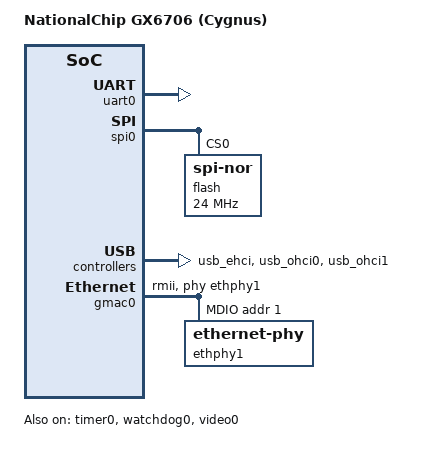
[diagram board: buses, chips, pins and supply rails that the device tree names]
// SPDX-License-Identifier: GPL-2.0+
/*
 * NationalChip GX6706 (Cygnus), C-SKY CK610.
 *
 * Peripheral bases use the uncached alias (+0xA0000000) that the open IPL
 * MMU maps. EHCI owns high-speed traffic. The two OHCI companions own
 * full/low-speed traffic and share the one Cygnus PHY sequence.
 */

/dts-v1/;

/ {
	#address-cells = <1>;
	#size-cells = <1>;
	model = "NationalChip GX6706 (Cygnus)";
	compatible = "nationalchip,gx6706";

	aliases {
		serial0 = &uart0;
		ethernet0 = &gmac0;
		spi0 = &spi0;
		watchdog0 = &watchdog0;
		usb0 = &usb_ehci;
		usb1 = &usb_ohci0;
		usb2 = &usb_ohci1;
	};

	chosen {
		stdout-path = "serial0:115200n8";
	};

	sysinfo {
		compatible = "nationalchip,gx6706-sysinfo";
	};

	clocks {
		#address-cells = <1>;
		#size-cells = <0>;

		uart_clk: uart-clk {
			compatible = "fixed-clock";
			#clock-cells = <0>;
			clock-frequency = <29491200>;
		};
	};

	soc {
		compatible = "simple-bus";
		#address-cells = <1>;
		#size-cells = <1>;
		ranges;
		/* Cached DRAM 0x90000000 is physical 0x10000000 on the MAC DMA. */
		dma-ranges = <0x10000000 0x90000000 0x4000000>;
		bootph-all;

		uart0: serial@a0402000 {
			compatible = "ns16550a";
			reg = <0xa0402000 0x1000>;
			reg-shift = <2>;
			reg-io-width = <4>;
			clock-frequency = <29491200>;
			bootph-all;
		};

		/*
		 * Free-running SoC timer. The Cygnus loader touches the
		 * clock-source half at +0x40, same block as GX6702.
		 */
		timer0: timer@a020a000 {
			compatible = "nationalchip,gx6706-timer",
				     "csky,gx6605s-timer";
			reg = <0xa020a000 0x60>;
			clock-frequency = <27000000>;
			status = "okay";
		};

		/*
		 * Same 27 MHz watchdog block as GX6702. The vendor loader's
		 * divider literal is 27000000.
		 */
		watchdog0: watchdog@a020b000 {
			compatible = "nationalchip,gx6706-wdt";
			reg = <0xa020b000 0x10>;
			clock-frequency = <27000000>;
			status = "okay";
		};

		spi0: spi@a0e00000 {
			compatible = "nationalchip,gx6706-spi";
			reg = <0xa0e00000 0x100>;
			#address-cells = <1>;
			#size-cells = <0>;
			status = "okay";

			flash@0 {
				compatible = "jedec,spi-nor";
				reg = <0>;
				spi-max-frequency = <24000000>;
			};
		};

		usb_ehci: usb@a0904000 {
			compatible = "generic-ehci";
			reg = <0xa0904000 0x400>;
			u-boot,board-init;
			status = "okay";
		};

		usb_ohci0: usb@a0900000 {
			compatible = "generic-ohci";
			reg = <0xa0900000 0x400>;
			u-boot,board-init;
			status = "okay";
		};

		usb_ohci1: usb@a0901000 {
			compatible = "generic-ohci";
			reg = <0xa0901000 0x400>;
			u-boot,board-init;
			status = "okay";
		};

		/*
		 * Same display blocks the GX6706 eCos image uses: graphics and
		 * the primary DVE at 0xA4800000, CVBS clone at 0xA4900000, and
		 * the DesignWare HDMI TX at 0xA4F00000.  Mode 0 follows EDID.
		 */
		/*
		 * Same Synopsys GMAC as GX6702, external RTL8201 in RMII.
		 * The H5 loader first reads the external PHY at address 1.
		 */
		gmac0: ethernet@a0a00000 {
			compatible = "nationalchip,gx6706-dwmac";
			reg = <0xa0a00000 0x2000>;
			phy-mode = "rmii";
			max-speed = <100>;
			phy-handle = <&ethphy1>;
			status = "okay";

			mdio {
				#address-cells = <1>;
				#size-cells = <0>;

				ethphy1: ethernet-phy@1 {
					reg = <1>;
				};
			};
		};

		video0: video@a4800000 {
			compatible = "nationalchip,gx6706-video";
			reg = <0xa4800000 0x8000>,
			      <0xa4900000 0x8000>,
			      <0xa4f00000 0x40000>;
			reg-names = "gfx", "vp", "hdmi";
			nationalchip,video-mode = <0>;
			bootph-all;
			status = "okay";
		};
	};
};
